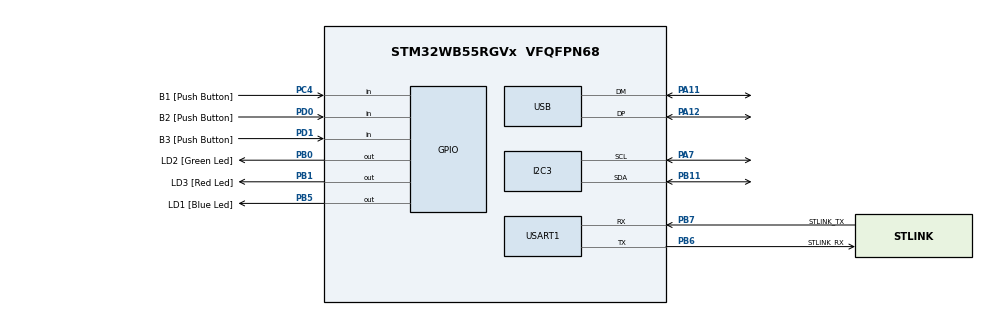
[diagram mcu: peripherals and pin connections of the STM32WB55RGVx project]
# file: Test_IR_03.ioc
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I2C3.Timing=0x00707CBB
Mcu.Family=STM32WB
Mcu.Name=STM32WB55RGVx
Mcu.Package=VFQFPN68
NVIC.PriorityGroup=NVIC_PRIORITYGROUP_4
NVIC.TIM1_TRG_COM_TIM17_IRQn=true\:15\:0\:false\:false\:true\:false\:true\:true
NVIC.TimeBase=TIM1_TRG_COM_TIM17_IRQn
NVIC.TimeBaseIP=TIM17
OSC_IN.Mode=HSE-External-Oscillator
OSC_IN.Signal=RCC_OSC_IN
OSC_OUT.Mode=HSE-External-Oscillator
OSC_OUT.Signal=RCC_OSC_OUT
PA11.Mode=Device
PA11.Signal=USB_DM
PA12.Mode=Device
PA12.Signal=USB_DP
PA13.GPIO_Label=JTMS
PA13.Mode=Trace_Asynchronous_SW
PA13.Signal=SYS_JTMS-SWDIO
PA14.GPIO_Label=JTCK
PA14.Mode=Trace_Asynchronous_SW
PA14.Signal=SYS_JTCK-SWCLK
PA7.Mode=I2C
PA7.Signal=I2C3_SCL
PB0.GPIO_Label=LD2 [Green Led]
PB0.Signal=GPIO_Output
PB1.GPIO_Label=LD3 [Red Led]
PB1.Signal=GPIO_Output
PB11.Mode=I2C
PB11.Signal=I2C3_SDA
PB3.GPIO_Label=JTDO
PB3.Mode=Trace_Asynchronous_SW
PB3.Signal=SYS_JTDO-SWO
PB5.GPIO_Label=LD1 [Blue Led]
PB5.Signal=GPIO_Output
PB6.GPIO_Label=STLINK_RX
PB6.GPIO_PuPd=GPIO_PULLUP
PB6.Mode=Asynchronous
PB6.Signal=USART1_TX
PB7.GPIO_Label=STLINK_TX
PB7.GPIO_PuPd=GPIO_PULLUP
PB7.Mode=Asynchronous
PB7.Signal=USART1_RX
PC13.Mode=SYS_WakeUp1
PC13.Signal=SYS_WKUP2
PC14-OSC32_IN.Mode=LSE-External-Oscillator
PC14-OSC32_IN.Signal=RCC_OSC32_IN
PC15-OSC32_OUT.Mode=LSE-External-Oscillator
PC15-OSC32_OUT.Signal=RCC_OSC32_OUT
PC4.GPIO_Label=B1 [Push Button]
PC4.Signal=GPIO_Input
PD0.GPIO_Label=B2 [Push Button]
PD0.Signal=GPIO_Input
PD1.GPIO_Label=B3 [Push Button]
PD1.Signal=GPIO_Input
ProjectManager.HeapSize=0x200
ProjectManager.StackSize=0x400
ProjectManager.TargetToolchain=STM32CubeIDE
RCC.ADCFreq_Value=48000000
RCC.AHB2CLKDivider=RCC_SYSCLK_DIV2
RCC.AHBCLKDivider=RCC_SYSCLK_DIV2
RCC.AHBFreq_Value=32000000
RCC.APB1Freq_Value=32000000
RCC.APB1TimFreq_Value=32000000
RCC.APB2Freq_Value=32000000
RCC.APB2TimFreq_Value=32000000
RCC.APB3Freq_Value=16000000
RCC.CortexFreq_Value=32000000
RCC.HCLKFreq_Value=32000000
RCC.HSE_VALUE=32000000
RCC.HSI48_VALUE=48000000
RCC.HSI_VALUE=16000000
RCC.LSE_Drive_Capability=RCC_LSEDRIVE_LOW
RCC.PLLN=32
RCC.PLLSAI1N=24
RCC.SMPSCLockSelectionVirtual=RCC_SMPSCLKSOURCE_HSI
RCC.SMPSCLockSelectionVirtualVirtual=RCC_SMPSCLKSOURCE_HSI
RCC.SMPSDivider=1
RCC.SYSCLKFreq_VALUE=64000000
RCC.SYSCLKSource=RCC_SYSCLKSOURCE_PLLCLK
RCC.USBFreq_Value=48000000
RCC.VCOOutputFreq_Value=128000000
USART1.VirtualMode-Asynchronous=VM_ASYNC
USART1.WordLength=WORDLENGTH_7B
VP_SYS_VS_tim17.Mode=TIM17
board=NUCLEO-WB55RG

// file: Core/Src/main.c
/* USER CODE BEGIN Header */
/**
  ******************************************************************************
  * @file           : main.c
  * @brief          : Main program body
  ******************************************************************************
  * @attention
  *
  * Copyright (c) 2023 STMicroelectronics.
  * All rights reserved.
  *
  * This software is licensed under terms that can be found in the LICENSE file
  * in the root directory of this software component.
  * If no LICENSE file comes with this software, it is provided AS-IS.
  *
  ******************************************************************************
  */
/* USER CODE END Header */
#include "main.h"
#include "i2c.h"
#include "usart.h"
#include "usb.h"
#include "gpio.h"

/* USER CODE BEGIN Includes */
#include "stdlib.h"
#include "stdio.h"
#include "mlx90614.h"
/* USER CODE END Includes */

/* USER CODE BEGIN PV */
//MLX90614_t cap1;
//MLX90614_CONFIG_REG_t* Ambiant_Temp;
/* USER CODE END PV */

void SystemClock_Config(void);
void PeriphCommonClock_Config(void);
/* USER CODE BEGIN PFP */
int _write(int file, char *ptr, int len);
/* USER CODE END PFP */

/* USER CODE BEGIN 0 */
int _write(int file, char *ptr, int len)
{
int DataIdx;
for (DataIdx = 0; DataIdx < len; DataIdx++)
{
//__io_putchar(*ptr++);
ITM_SendChar(*ptr++);
}
return len;
}
/* USER CODE END 0 */

int main(void)
{

  /* MCU Configuration--------------------------------------------------------*/

  /* Reset of all peripherals, Initializes the Flash interface and the Systick. */
  HAL_Init();

  /* Configure the system clock */
  SystemClock_Config();

/* Configure the peripherals common clocks */
  PeriphCommonClock_Config();

  /* Initialize all configured peripherals */
  MX_GPIO_Init();
  MX_USART1_UART_Init();
  MX_USB_PCD_Init();
  MX_I2C3_Init();

  /* Infinite loop */
  /* USER CODE BEGIN WHILE */

  int i = 1;

  //cap1.unit = MLX90614_UNIT_C;

  if(mlx90614_init() == true)printf("Initialization OK ! \n");
  else printf("Initialization Failed ! \n");
/*
  if(mlx90614_readID(cap1->id) == true) printf("Read_ID OK !\n");
  else printf("read_Id failed !\n");
  for(int i=0 ; i<4 ; i++){
	printf("Read Id : %u \n",cap1->id[i]);
  }
*/
  //mlx90614_setUnit(MLX90614_UNIT_C);

  //float tobj = 0.0f;
  mlx90614.configReg.DualIRSensor = 0;
  mlx90614.configReg.SelectObjAmb = 1;
  mlx90614.configReg.FIR = 4;

  //cap1->max = 150.00f;
  //cap1->min = -30.00f;
  //float actualMax;
  //float* ActualMax = &actualMax;
  //float actualMin;
  //float* ActualMin = &actualMin;
/*
  if(mlx90614_setMax(cap1->max) == true) printf("setMax OK : %0.2f *C\n",cap1->max);
  else printf("setMax failed !\n");
  if(mlx90614_setMin(cap1->min) == true) printf("setMin OK : %0.2f *C\n",cap1->min);
  else printf("setMin failed !\n");

  if(mlx90614_getMax(ActualMax) == true) printf("getMax OK : %0.2f *C\n",cap1->max);
  else printf("getMax failed !\n");
  if(mlx90614_getMin(ActualMin) == true) printf("getMin OK : %0.2f *C\n",cap1->min);
  else printf("getMin failed !\n");
*/
/*
  cap1->emissivity = 1.0f;
  if(mlx90614_setEmissivity(cap1->emissivity) == true) printf("setEmissivity OK : %0.2f \n", cap1->emissivity);
  else printf("setEmissivity failed !\n");
*/
  while (1)
  {
	  if(mlx90614_init() == true)printf("Initialization OK ! \n");
	  else printf("Initialization Failed ! \n");
	  mlx90614.configReg.DualIRSensor = 0;
	    mlx90614.configReg.SelectObjAmb = 1;
	    mlx90614.configReg.FIR = 4;
    /* USER CODE END WHILE */

    /* USER CODE BEGIN 3 */
	  printf("loop %d start\n",i);
	  float temp = 0.0f;

	  //if ( mlx90614_getAmbient(&cap1->ambient) == true ) printf("getAmbient OK : %0.2f *C\n", cap1->ambient);
	  //else printf("Failed to read ambient temperature\n");
	  if ( mlx90614_getAmbient(&temp) == true ) printf("getAmbient OK : %0.2f *C\n", temp);
	  else printf("Failed to read ambient temperature\n");

//	  if(mlx90614_getEmissivity(&cap1->emissivity) == true) printf("getEmissivity OK : %0.2f \n", cap1->emissivity);
//	  else printf("getEmissivity failed !\n");

/*
	  if ( mlx90614_getObject1(&cap1->object1) == true) printf("getObject1 OK : %0.2f *C\n", cap1->object1);
	  else printf("Failed to read Object1 temperature\n");
*/

/*
	  if ( mlx90614_getObject2(&tobj) == true) printf("getObject2 OK : %0.2f *C\n", tobj);
	  else printf("Failed to read Object2 temperature\n");
*/
	  printf("loop %d end\n",i);
	  i++;
	  HAL_Delay(2000);
  }
  /* USER CODE END 3 */
}

void SystemClock_Config(void)
{
  RCC_OscInitTypeDef RCC_OscInitStruct = {0};
  RCC_ClkInitTypeDef RCC_ClkInitStruct = {0};

  /** Configure LSE Drive Capability
  */
  HAL_PWR_EnableBkUpAccess();
  __HAL_RCC_LSEDRIVE_CONFIG(RCC_LSEDRIVE_LOW);

  /** Configure the main internal regulator output voltage
  */
  __HAL_PWR_VOLTAGESCALING_CONFIG(PWR_REGULATOR_VOLTAGE_SCALE1);

  /** Initializes the RCC Oscillators according to the specified parameters
  * in the RCC_OscInitTypeDef structure.
  */
  RCC_OscInitStruct.OscillatorType = RCC_OSCILLATORTYPE_HSI|RCC_OSCILLATORTYPE_HSE
                              |RCC_OSCILLATORTYPE_LSE|RCC_OSCILLATORTYPE_MSI;
  RCC_OscInitStruct.HSEState = RCC_HSE_ON;
  RCC_OscInitStruct.LSEState = RCC_LSE_ON;
  RCC_OscInitStruct.HSIState = RCC_HSI_ON;
  RCC_OscInitStruct.MSIState = RCC_MSI_ON;
  RCC_OscInitStruct.HSICalibrationValue = RCC_HSICALIBRATION_DEFAULT;
  RCC_OscInitStruct.MSICalibrationValue = RCC_MSICALIBRATION_DEFAULT;
  RCC_OscInitStruct.MSIClockRange = RCC_MSIRANGE_6;
  RCC_OscInitStruct.PLL.PLLState = RCC_PLL_ON;
  RCC_OscInitStruct.PLL.PLLSource = RCC_PLLSOURCE_MSI;
  RCC_OscInitStruct.PLL.PLLM = RCC_PLLM_DIV1;
  RCC_OscInitStruct.PLL.PLLN = 32;
  RCC_OscInitStruct.PLL.PLLP = RCC_PLLP_DIV2;
  RCC_OscInitStruct.PLL.PLLR = RCC_PLLR_DIV2;
  RCC_OscInitStruct.PLL.PLLQ = RCC_PLLQ_DIV2;
  if (HAL_RCC_OscConfig(&RCC_OscInitStruct) != HAL_OK)
  {
    Error_Handler();
  }

  /** Configure the SYSCLKSource, HCLK, PCLK1 and PCLK2 clocks dividers
  */
  RCC_ClkInitStruct.ClockType = RCC_CLOCKTYPE_HCLK4|RCC_CLOCKTYPE_HCLK2
                              |RCC_CLOCKTYPE_HCLK|RCC_CLOCKTYPE_SYSCLK
                              |RCC_CLOCKTYPE_PCLK1|RCC_CLOCKTYPE_PCLK2;
  RCC_ClkInitStruct.SYSCLKSource = RCC_SYSCLKSOURCE_PLLCLK;
  RCC_ClkInitStruct.AHBCLKDivider = RCC_SYSCLK_DIV2;
  RCC_ClkInitStruct.APB1CLKDivider = RCC_HCLK_DIV1;
  RCC_ClkInitStruct.APB2CLKDivider = RCC_HCLK_DIV1;
  RCC_ClkInitStruct.AHBCLK2Divider = RCC_SYSCLK_DIV2;
  RCC_ClkInitStruct.AHBCLK4Divider = RCC_SYSCLK_DIV1;

  if (HAL_RCC_ClockConfig(&RCC_ClkInitStruct, FLASH_LATENCY_3) != HAL_OK)
  {
    Error_Handler();
  }

  /** Enable MSI Auto calibration
  */
  HAL_RCCEx_EnableMSIPLLMode();
}

void PeriphCommonClock_Config(void)
{
  RCC_PeriphCLKInitTypeDef PeriphClkInitStruct = {0};

  /** Initializes the peripherals clock
  */
  PeriphClkInitStruct.PeriphClockSelection = RCC_PERIPHCLK_SMPS;
  PeriphClkInitStruct.SmpsClockSelection = RCC_SMPSCLKSOURCE_HSI;
  PeriphClkInitStruct.SmpsDivSelection = RCC_SMPSCLKDIV_RANGE0;

  if (HAL_RCCEx_PeriphCLKConfig(&PeriphClkInitStruct) != HAL_OK)
  {
    Error_Handler();
  }
}

void HAL_TIM_PeriodElapsedCallback(TIM_HandleTypeDef *htim)
{
  if (htim->Instance == TIM17) {
    HAL_IncTick();
  }
}

void Error_Handler(void)
{
  __disable_irq();
  while (1)
  {
  }
}
